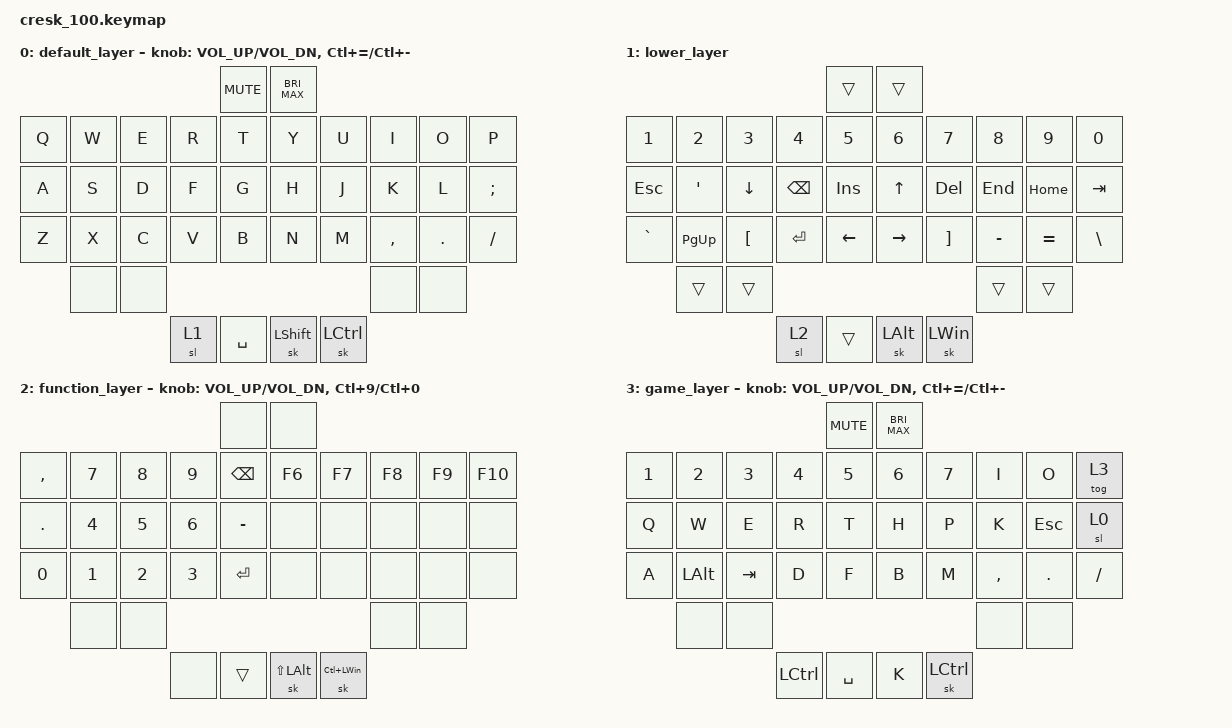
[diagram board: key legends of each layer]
/*
 * Copyright (c) 2022 The ZMK Contributors
 *
 * SPDX-License-Identifier: MIT
 */

#include <behaviors.dtsi>
#include <dt-bindings/zmk/keys.h>

&sk {
    release-after-ms = <600>;
    quick-release;
};

&sl {
    release-after-ms = <600>;
};

/ {
    keymap {
        compatible = "zmk,keymap";

        default_layer {
            bindings = <
                                       &kp C_MUTE    &kp C_BRI_MAX
&kp Q      &kp W     &kp E    &kp R    &kp T         &kp Y        &kp U        &kp I     &kp O     &kp P
&kp A      &kp S     &kp D    &kp F    &kp G         &kp H        &kp J        &kp K     &kp L     &kp SEMI
&kp Z      &kp X     &kp C    &kp V    &kp B         &kp N        &kp M        &kp COMMA &kp DOT   &kp FSLH
           &none     &none                                                     &none     &none
                              &sl 1    &kp SPACE     &sk LSHIFT   &sk LCTRL
            >;

            sensor-bindings = <&inc_dec_kp C_VOL_UP C_VOL_DN
                               &inc_dec_kp LC(EQUAL) LC(MINUS)>;
        }
;
        lower_layer {
            bindings = <
                                       &trans        &trans
&kp N1     &kp N2    &kp N3   &kp N4   &kp N5        &kp N6       &kp N7       &kp N8    &kp N9    &kp N0
&kp ESC    &kp SQT   &kp DOWN &kp BSPC &kp INS       &kp UP       &kp DEL      &kp END   &kp HOME  &kp TAB
&kp GRAVE  &kp PG_UP &kp LBKT &kp RET  &kp LEFT      &kp RIGHT    &kp RBKT     &kp MINUS &kp EQUAL &kp BSLH
           &trans    &trans                                                    &trans    &trans
                              &sl 2    &trans        &sk LALT     &sk LWIN
            >;
        };

        function_layer {
            bindings = <
                                       &none         &none
&kp COMMA     &kp N7    &kp N8   &kp N9   &kp BSPC        &kp F6       &kp F7       &kp F8    &kp F9    &kp F10
&kp DOT    &kp N4   &kp N5    &kp N6 &kp MINUS         &none        &none        &none     &none     &none
&kp N0  &kp N1 &kp N2    &kp N3  &kp RET         &none        &none        &none     &none     &none
           &none     &none                                                     &none     &none
                              &none    &trans        &sk LS(LALT) &sk LC(LWIN)
            >;
             sensor-bindings = <&inc_dec_kp C_VOL_UP C_VOL_DN
                               &inc_dec_kp LC(N9) LC(N0)>;
        };
        game_layer {
            bindings = <
                                                   &kp C_MUTE    &kp C_BRI_MAX
&kp 1      &kp 2     &kp 3    &kp 4    &kp 5         &kp 6        &kp 7        &kp I     &kp O     &tog 3
&kp Q      &kp W     &kp E    &kp R    &kp T         &kp H        &kp P        &kp K     &kp ESC     &sl 0
&kp A      &kp LALT     &kp TAB    &kp D    &kp F         &kp B        &kp M        &kp COMMA &kp DOT   &kp FSLH
           &none     &none                                                     &none     &none
                              &kp LCTRL    &kp SPACE     &kp K   &sk LCTRL
            >;
            sensor-bindings = <&inc_dec_kp C_VOL_UP C_VOL_DN
                               &inc_dec_kp LC(EQUAL) LC(MINUS)>;
          };
    };
};
